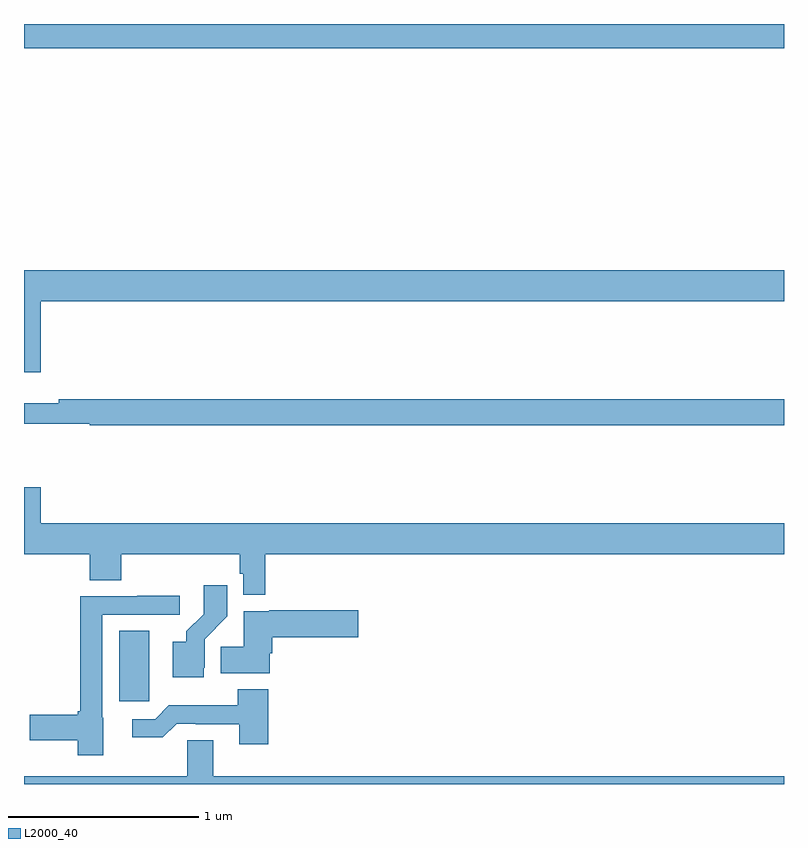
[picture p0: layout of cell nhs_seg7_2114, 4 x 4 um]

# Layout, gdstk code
import gdstk
lib = gdstk.Library(unit=1e-6, precision=1e-09)
def R(c, l, rs):  # rectangles x0, y0, x1, y1
    for r in rs: c.add(gdstk.rectangle(r[:2], r[2:], *l))
def P(c, l, *ps):  # polygons
    for p in ps: c.add(gdstk.Polygon(p, *l))
L2000_40 = (2000, 40)

nhs_seg7_2114 = lib.new_cell('nhs_seg7_2114')
R(nhs_seg7_2114, L2000_40, [(249.5,1074.435,249.658,1074.806), (249,1077.872,253,1078)])
P(nhs_seg7_2114, L2000_40, [(249.088,1076.54),(253,1076.54),(253,1076.704),(249,1076.704),(249,1076.166),(249.088,1076.166)],
  [(253,1076.024),(249.184,1076.024),(249.184,1076.005),(249,1076.005),(249,1075.896),(249.345,1075.896),(249.345,1075.888),(253,1075.888)],
  [(250.271,1075.208),(253,1075.208),(253,1075.372),(249.088,1075.372),(249.088,1075.561),(249,1075.561),(249,1075.208),(249.347,1075.208),(249.347,1075.072),(249.512,1075.072),(249.512,1075.208),(250.135,1075.208),(250.135,1075.107),(250.155,1075.107),(250.155,1074.995),(250.271,1074.995)],
  [(249.946,1074.612),(249.951,1074.612),(249.951,1074.763),(250.07,1074.882),(250.07,1075.045),(249.945,1075.045),(249.945,1074.893),(249.854,1074.803),(249.854,1074.748),(249.782,1074.748),(249.782,1074.563),(249.946,1074.563)],
  [(249.418,1074.348),(249.411,1074.348),(249.411,1074.891),(249.82,1074.891),(249.82,1074.99),(249.595,1074.99),(249.595,1074.987),(249.295,1074.987),(249.295,1074.383),(249.282,1074.383),(249.282,1074.365),(249.03,1074.365),(249.03,1074.23),(249.282,1074.23),(249.282,1074.152),(249.418,1074.152)],
  [(250.294,1074.689),(250.307,1074.689),(250.307,1074.773),(250.759,1074.773),(250.759,1074.915),(250.29,1074.915),(250.29,1074.91),(250.157,1074.91),(250.157,1074.722),(250.036,1074.722),(250.036,1074.584),(250.294,1074.584)],
  [(250.286,1074.499),(250.126,1074.499),(250.126,1074.415),(249.763,1074.415),(249.69,1074.342),(249.57,1074.342),(249.57,1074.245),(249.731,1074.245),(249.804,1074.318),(249.904,1074.318),(249.904,1074.315),(250.133,1074.315),(250.133,1074.21),(250.286,1074.21)],
  [(253,1074.04),(249.997,1074.04),(249.997,1074.23),(249.858,1074.23),(249.858,1074.04),(249,1074.04),(249,1074),(253,1074)])

lib.write_gds('nhs_seg7_2114.gds')
